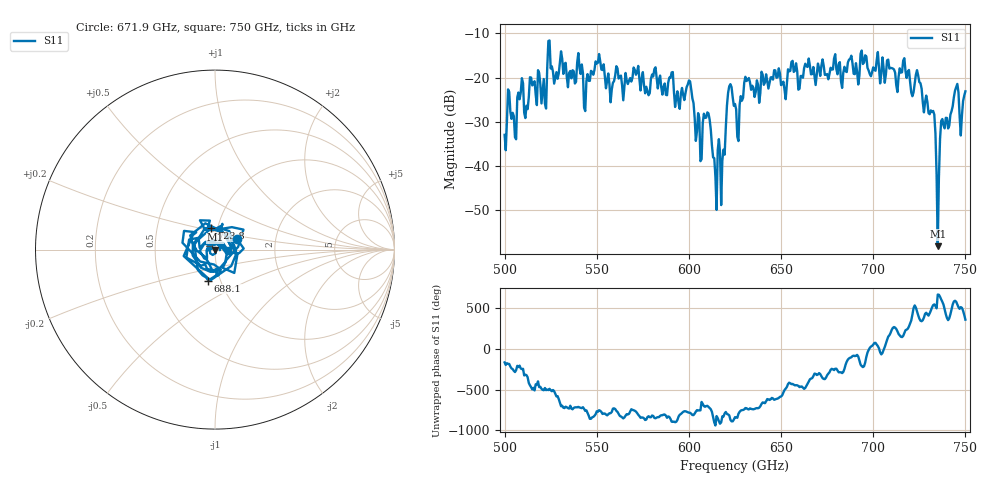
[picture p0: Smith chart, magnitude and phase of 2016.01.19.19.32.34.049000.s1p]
!Created with skrf (http://scikit-rf.org).
# GHz S RI R 50.0
!freq ReS11 ImS11
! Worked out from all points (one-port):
!   401 points, 500 GHz to 750 GHz, reference 50 ohm
!   lowest |S11| = -58.1 dB at 735 GHz (marker M1), VSWR 1.00, Z = 50.1 - j0.0999 ohm
!   |S11| at or under -10 dB: start of sweep to end of sweep
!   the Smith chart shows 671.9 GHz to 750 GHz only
!   S11 on the Smith chart (normalised r, x): 671.9 GHz: 1.27, +0.15; 688.1 GHz: 0.88, -0.31; 723.8 GHz: 0.93, +0.23; 750 GHz: 1.15, -0.00
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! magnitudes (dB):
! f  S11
! 500 GHz  -32.9
! 508.8 GHz  -23.4
! 511.9 GHz  -26.4
! 531.2 GHz  -15.8
! 544.4 GHz  -20.8
! 550.6 GHz  -16.7
! 562.5 GHz  -19.7
! 590 GHz  -20.1
! 593.8 GHz  -23.1
! 600 GHz  -20.7
! 605.6 GHz  -29.1
! 610.6 GHz  -28.1
! 613.8 GHz  -38.2
! 616.2 GHz  -33.9
! 618.8 GHz  -36.3
! 621.9 GHz  -22.0
! 625 GHz  -26.0
! 631.2 GHz  -20.8
! 656.2 GHz  -16.2
! 671.9 GHz  -17.3
! 687.5 GHz  -15.8
! 688.1 GHz  -15.1
! 718.8 GHz  -18.7
! 723.8 GHz  -18.3
! 732.5 GHz  -27.6
! 735 GHz  -58.1
! 738.1 GHz  -30.8
! 750 GHz  -23.1
